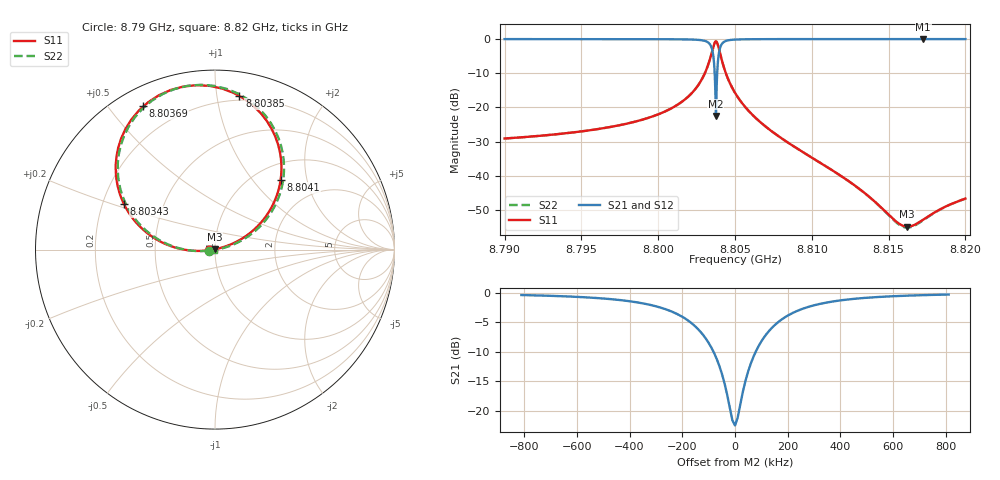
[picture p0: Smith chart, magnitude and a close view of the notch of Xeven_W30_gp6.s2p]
! Sonnet Data File
! From: emgraph Version : 16.52
! From Project: Qubit_Test_beforeopt
! Data is De-embedded
! Data File Written: 10/18/2017 16:57:22
!< HDATE 10/18/2017 09:03:38
!< MDATE 10/18/2017 09:03:38
!< PARAMS
!< Lj = 11.0
!< Gap = 6.0
!< Pwid = 2000.0
!< Airgap = 18.0
!< Width = 30.0
!< END PARAMS
# GHZ S MA R 51.80000
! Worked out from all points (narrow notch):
!   3001 points, 8.79 GHz to 8.82 GHz, reference 51.8 ohm
!   highest |S21| = 0.00 dB at 8.81725 GHz (marker M1); lowest = -22.5 dB at 8.80376 GHz (marker M2)
!   notch at M2: 22.5 dB deep, 136 kHz wide at half that depth
!   lowest |S11| = -54.9 dB at 8.81621 GHz (marker M3), VSWR 1.00, Z = 51.8 + j0.184 ohm
!   |S11| at or under -10 dB: start of sweep to 8.803036 GHz; 8.804405 GHz to end of sweep
!   |S22| runs from -55.2 to -0.7 dB; largest |S21 - S12| = 0
!   S11 on the Smith chart (normalised r, x): 8.79 GHz: 0.93, -0.01; 8.80343 GHz: 0.29, +0.22; 8.80369 GHz: 0.08, +0.61; 8.80385 GHz: 0.17, +1.16; 8.8041 GHz: 1.29, +1.41; 8.82 GHz: 0.99, +0.00
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8.79  0.03512 -173.6  0.9994 -81.5  0.9994 -81.5  0.03512 -169.4
!< P1 F=8.79 Eeff=(6.44477581 -3.0301e-5) Z0=(50.6167814 1.12757e-4) R=0.0 C=0.0
!< P2 F=8.79 Eeff=(6.44477581 -3.0301e-5) Z0=(50.6167814 1.12757e-4) R=0.0 C=0.0
8.795  0.04462 -173.6  0.9989 -82.0  0.9989 -82.0  0.04461 -170.6
8.8  0.07925 -174.8  0.9966 -84.1  0.9966 -84.1  0.07924 -173.8
8.80225  0.1679 -179.7  0.984 -89.2  0.984 -89.2  0.1678 180.0
8.80307  0.3291 170.2  0.936 -98.8  0.936 -98.8  0.329 169.3
8.80328  0.439 162.8  0.8823 -105.6  0.8823 -105.6  0.4389 161.7
8.80343  0.5674 153.4  0.793 -114.1  0.793 -114.1  0.5672 152.2
8.80357  0.7414 138.1  0.6037 -127.1  0.6037 -127.1  0.7411 136.7
8.80369  0.8927 116.6  0.276 -139.1  0.276 -139.1  0.8924 115.2
8.80376  0.9254 101.0  0.07483 -76.6  0.07483 -76.6  0.9251 99.4
8.80385  0.8672 81.0  0.3535 -21.4  0.3535 -21.4  0.867 79.4
8.80397  0.6989 60.5  0.6559 -35.5  0.6559 -35.5  0.6987 58.8
8.8041  0.5339 46.8  0.8164 -47.4  0.8164 -47.4  0.5337 44.9
8.80442  0.3097 31.2  0.9417 -61.5  0.9417 -61.5  0.3096 29.1
8.805  0.1639 22.2  0.9838 -70.2  0.9838 -70.2  0.1639 19.4
8.80676  0.05801 16.7  0.9978 -76.3  0.9978 -76.3  0.05798 11.7
8.81  0.01847 18.0  0.9997 -78.6  0.9997 -78.6  0.01844 5.5
8.81296  0.006788 27.1  0.9999 -79.3  0.9999 -79.3  0.006761 -4.8
8.815  0.002703 53.2  1 -79.6  1 -79.6  0.002656 -31.2
8.81621  0.001802 100.3  1 -79.7  1 -79.7  0.001743 -79.7
8.81725  0.002278 138.8  1 -79.8  1 -79.8  0.002238 -119.2
8.82  0.00464 168.1  1 -80.0  1 -80.0  0.004626 -148.4
